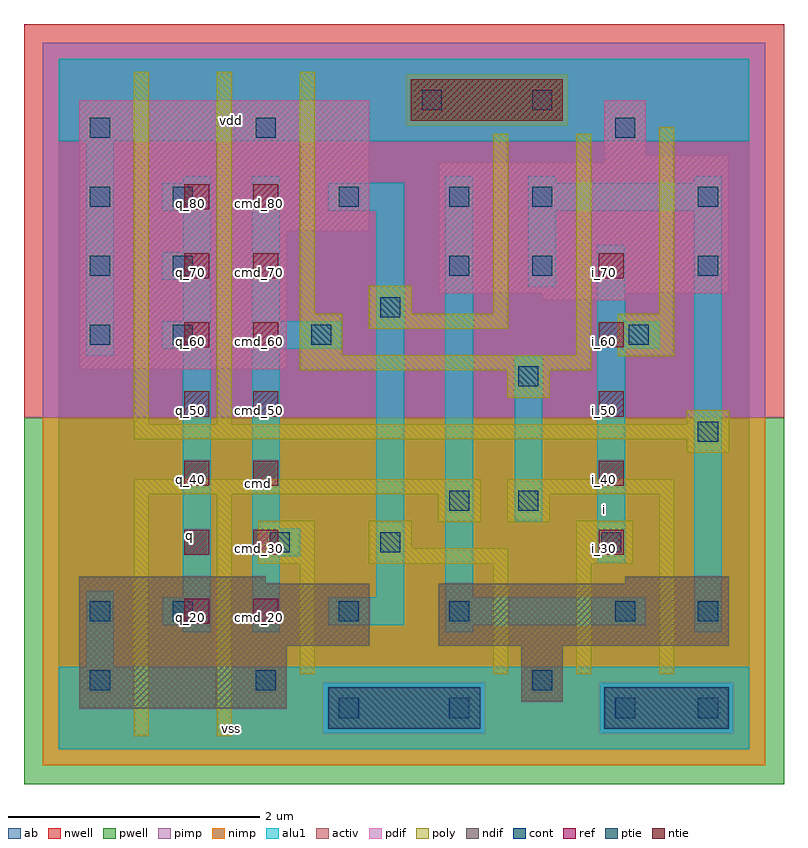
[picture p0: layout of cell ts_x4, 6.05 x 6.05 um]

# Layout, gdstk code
import gdstk
lib = gdstk.Library(unit=1e-6, precision=2.5e-09)
def R(c, l, rs):  # rectangles x0, y0, x1, y1
    for r in rs: c.add(gdstk.rectangle(r[:2], r[2:], *l))
def A(c, l, x, y, w, h, nx, ny, dx, dy):  # array of equal rectangles
    R(c, l, [(x+i*dx, y+j*dy, x+i*dx+w, y+j*dy+h) for i in range(nx) for j in range(ny)])
ndif = (3, 0)
pdif = (4, 0)
ntie = (5, 0)
ptie = (6, 0)
ref = (24, 0)
cont = (25, 0)
pwell = (41, 0)
nwell = (42, 0)
activ = (43, 0)
pimp = (44, 0)
nimp = (45, 0)
poly = (46, 0)
alu1 = (49, 0)
ab = (63, 0)

ts_x4 = lib.new_cell('ts_x4')
R(ts_x4, ndif, [(0.165,0.33,1.815,0.825), (3.685,0.385,4.015,0.825), (0.165,0.825,2.475,1.32), (3.025,0.825,5.335,1.32), (0.165,1.32,1.65,1.375), (4.51,1.32,5.335,1.375)])
R(ts_x4, pdif, [(0.165,3.025,1.815,4.125), (3.85,3.575,4.51,3.63), (3.025,3.63,5.335,4.675), (0.165,4.125,2.475,5.17), (4.345,4.675,5.335,4.73), (4.345,4.73,4.675,5.17)])
R(ts_x4, ntie, [(2.805,5.005,4.015,5.335)])
R(ts_x4, ptie, [(2.145,0.165,3.355,0.495), (4.345,0.165,5.335,0.495)])
A(ts_x4, ref, 1, 1, 0.2, 0.2, 1, 7, 0, 0.55)
A(ts_x4, ref, 1.55, 1, 0.2, 0.2, 1, 7, 0, 0.55)
A(ts_x4, ref, 4.3, 1.55, 0.2, 0.2, 1, 5, 0, 0.55)
A(ts_x4, cont, 0.25, 3.22, 0.16, 0.16, 1, 4, 0, 0.55)
A(ts_x4, cont, 0.91, 3.22, 0.16, 0.16, 1, 3, 0, 0.55)
R(ts_x4, cont, [(2.23,0.25,2.39,0.41), (3.11,0.25,3.27,0.41), (4.43,0.25,4.59,0.41), (5.09,0.25,5.25,0.41), (0.25,0.47,0.41,0.63), (1.57,0.47,1.73,0.63), (3.77,0.47,3.93,0.63), (0.25,1.02,0.41,1.18), (0.91,1.02,1.07,1.18), (2.23,1.02,2.39,1.18), (3.11,1.02,3.27,1.18), (4.43,1.02,4.59,1.18), (5.09,1.02,5.25,1.18), (1.68,1.57,1.84,1.73), (2.56,1.57,2.72,1.73), (4.32,1.57,4.48,1.73), (3.11,1.9,3.27,2.06), (3.66,1.9,3.82,2.06), (5.09,2.45,5.25,2.61), (3.66,2.89,3.82,3.05), (2.01,3.22,2.17,3.38), (4.54,3.22,4.7,3.38), (2.56,3.44,2.72,3.6), (3.11,3.77,3.27,3.93), (3.77,3.77,3.93,3.93), (5.09,3.77,5.25,3.93), (2.23,4.32,2.39,4.48), (3.11,4.32,3.27,4.48), (3.77,4.32,3.93,4.48), (5.09,4.32,5.25,4.48), (1.57,4.87,1.73,5.03), (4.43,4.87,4.59,5.03), (2.89,5.09,3.05,5.25), (3.77,5.09,3.93,5.25)])
R(ts_x4, pwell, [(-0.275,-0.275,5.775,2.64)])
R(ts_x4, nwell, [(-0.275,2.64,5.775,5.775)])
R(ts_x4, activ, [(2.145,0.165,3.355,0.495), (4.345,0.165,5.335,0.495), (0.165,0.33,1.815,0.825), (3.685,0.385,4.015,0.825), (0.165,0.825,2.475,1.32), (3.025,0.825,5.335,1.32), (0.165,1.32,1.65,1.375), (4.51,1.32,5.335,1.375), (0.165,3.025,1.815,4.125), (3.85,3.575,4.51,3.63), (3.025,3.63,5.335,4.675), (0.165,4.125,2.475,5.17), (4.345,4.675,5.335,4.73), (4.345,4.73,4.675,5.17), (2.805,5.005,4.015,5.335)])
R(ts_x4, pimp, [(2.105,0.125,3.395,0.535), (4.305,0.125,5.375,0.535), (-0.125,2.64,5.625,4.965), (-0.125,4.965,2.765,5.375), (4.055,4.965,5.625,5.375), (-0.125,5.375,5.625,5.625)])
R(ts_x4, nimp, [(-0.125,-0.125,5.625,0.125), (-0.125,0.125,2.105,0.535), (3.395,0.125,4.305,0.535), (5.375,0.125,5.625,0.535), (-0.125,0.535,5.625,2.64), (2.765,4.965,4.055,5.375)])
R(ts_x4, poly, [(0.6,0.105,0.72,2.03), (1.26,0.105,1.38,2.03), (1.92,0.6,2.04,1.48), (3.46,0.6,3.58,1.48), (4.12,0.6,4.24,1.48), (4.78,0.6,4.9,2.03), (1.59,1.48,2.04,1.82), (2.47,1.48,3.58,1.6), (4.12,1.48,4.57,1.82), (2.47,1.6,2.81,1.82), (3.02,1.81,3.36,2.03), (3.57,1.81,3.91,2.03), (0.6,2.03,3.36,2.15), (3.57,2.03,4.9,2.15), (5,2.36,5.34,2.47), (0.6,2.47,5.34,2.59), (0.6,2.59,0.72,5.395), (1.26,2.59,1.38,5.395), (5,2.59,5.34,2.7), (3.57,2.8,3.91,3.02), (1.92,3.02,4.24,3.14), (4.45,3.13,4.9,3.47), (1.92,3.14,2.26,3.47), (4.12,3.14,4.24,4.9), (2.47,3.35,3.58,3.47), (1.92,3.47,2.04,5.395), (2.47,3.47,2.81,3.69), (3.46,3.47,3.58,4.9), (4.78,3.47,4.9,4.955)])
A(ts_x4, alu1, 0.825, 3.19, 0.385, 0.22, 1, 3, 0, 0.55)
R(ts_x4, alu1, [(0,0,5.5,0.66), (0.22,0.66,0.44,1.265), (0.99,0.935,1.21,0.99), (1.54,0.935,1.76,1.54), (3.08,0.935,3.3,0.99), (5.06,0.935,5.28,4.29), (0.825,0.99,1.21,1.21), (2.145,0.99,2.75,1.21), (3.08,0.99,4.675,1.21), (0.99,1.21,1.21,3.19), (2.53,1.21,2.75,4.29), (3.08,1.21,3.3,4.565), (4.29,1.485,4.51,3.19), (1.54,1.54,1.925,1.76), (1.54,1.76,1.76,3.19), (3.63,1.815,3.85,3.135), (0.22,3.135,0.44,4.84), (1.54,3.19,2.255,3.41), (4.29,3.19,4.785,3.41), (0.99,3.41,1.21,3.74), (1.54,3.41,1.76,4.565), (4.29,3.41,4.51,4.015), (3.74,3.685,3.96,4.29), (0.99,3.96,1.21,4.29), (2.145,4.29,2.75,4.51), (3.74,4.29,5.28,4.51), (0.99,4.51,1.21,4.565), (3.74,4.51,3.96,4.565), (5.06,4.51,5.28,4.565), (0,4.84,5.5,5.5)])
R(ts_x4, ab, [(0,0,5.5,5.5)])
ts_x4.add(gdstk.Label('vss', (1.375,0.165), layer=49, texttype=0))
ts_x4.add(gdstk.Label('i', (4.345,1.91), layer=49, texttype=0))
ts_x4.add(gdstk.Label('cmd', (1.595,2.1175), layer=49, texttype=0))
ts_x4.add(gdstk.Label('q', (1.045,1.705), layer=49, texttype=0))
ts_x4.add(gdstk.Label('vdd', (1.375,5.005), layer=49, texttype=0))
ts_x4.add(gdstk.Label('cmd_50', (1.6,2.7), layer=24, texttype=0))
ts_x4.add(gdstk.Label('cmd_40', (1.6,2.15), layer=24, texttype=0))
ts_x4.add(gdstk.Label('cmd_30', (1.6,1.6), layer=24, texttype=0))
ts_x4.add(gdstk.Label('cmd_80', (1.6,4.35), layer=24, texttype=0))
ts_x4.add(gdstk.Label('cmd_70', (1.6,3.8), layer=24, texttype=0))
ts_x4.add(gdstk.Label('cmd_60', (1.6,3.25), layer=24, texttype=0))
ts_x4.add(gdstk.Label('cmd_20', (1.6,1.05), layer=24, texttype=0))
ts_x4.add(gdstk.Label('i_30', (4.35,1.6), layer=24, texttype=0))
ts_x4.add(gdstk.Label('i_70', (4.35,3.8), layer=24, texttype=0))
ts_x4.add(gdstk.Label('i_60', (4.35,3.25), layer=24, texttype=0))
ts_x4.add(gdstk.Label('i_50', (4.35,2.7), layer=24, texttype=0))
ts_x4.add(gdstk.Label('i_40', (4.35,2.15), layer=24, texttype=0))
ts_x4.add(gdstk.Label('q_80', (1.05,4.35), layer=24, texttype=0))
ts_x4.add(gdstk.Label('q_70', (1.05,3.8), layer=24, texttype=0))
ts_x4.add(gdstk.Label('q_60', (1.05,3.25), layer=24, texttype=0))
ts_x4.add(gdstk.Label('q_50', (1.05,2.7), layer=24, texttype=0))
ts_x4.add(gdstk.Label('q_40', (1.05,2.15), layer=24, texttype=0))
ts_x4.add(gdstk.Label('q_30', (1.05,1.6), layer=24, texttype=0))
ts_x4.add(gdstk.Label('q_20', (1.05,1.05), layer=24, texttype=0))

lib.write_gds('ts_x4.gds')
